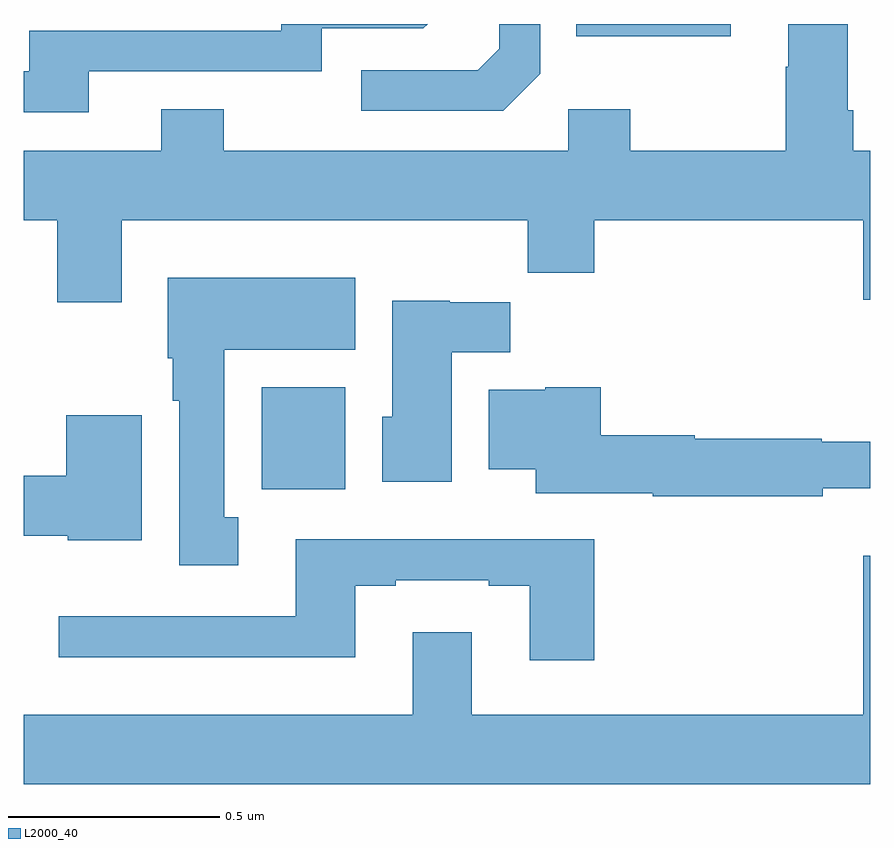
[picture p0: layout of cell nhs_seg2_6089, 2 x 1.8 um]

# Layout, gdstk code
import gdstk
lib = gdstk.Library(unit=1e-6, precision=1e-09)
def R(c, l, rs):  # rectangles x0, y0, x1, y1
    for r in rs: c.add(gdstk.rectangle(r[:2], r[2:], *l))
def P(c, l, *ps):  # polygons
    for p in ps: c.add(gdstk.Polygon(p, *l))
L2000_40 = (2000, 40)

nhs_seg2_6089 = lib.new_cell('nhs_seg2_6089')
R(nhs_seg2_6089, L2000_40, [(187.562,613.7,187.759,613.942), (188.305,614.771,188.67,614.8)])
P(nhs_seg2_6089, L2000_40, [(188.22,614.682),(188.22,614.8),(188.124,614.8),(188.124,614.742),(188.073,614.691),(187.797,614.691),(187.797,614.595),(188.133,614.595)],
  [(187.153,614.688),(187.704,614.688),(187.704,614.79),(187.944,614.79),(187.954,614.8),(187.608,614.8),(187.608,614.784),(187.013,614.784),(187.013,614.688),(187,614.688),(187,614.592),(187.153,614.592)],
  [(188.286,614.5),(187.473,614.5),(187.473,614.599),(187.325,614.599),(187.325,614.5),(187,614.5),(187,614.336),(187.079,614.336),(187.079,614.142),(187.231,614.142),(187.231,614.336),(188.191,614.336),(188.191,614.212),(188.348,614.212),(188.348,614.336),(188.984,614.336),(188.984,614.148),(189,614.148),(189,614.5),(188.96,614.5),(188.96,614.596),(188.947,614.596),(188.947,614.8),(188.807,614.8),(188.807,614.699),(188.8,614.699),(188.8,614.5),(188.433,614.5),(188.433,614.599),(188.286,614.599)],
  [(187.507,613.634),(187.474,613.634),(187.474,614.03),(187.783,614.03),(187.783,614.2),(187.34,614.2),(187.34,614.01),(187.352,614.01),(187.352,613.91),(187.367,613.91),(187.367,613.521),(187.507,613.521)],
  [(188.011,614.024),(188.15,614.024),(188.15,614.142),(188.007,614.142),(188.007,614.146),(187.871,614.146),(187.871,613.872),(187.847,613.872),(187.847,613.718),(188.011,613.718)],
  [(188.888,613.703),(189,613.703),(189,613.813),(188.886,613.813),(188.886,613.82),(188.586,613.82),(188.586,613.828),(188.363,613.828),(188.363,613.942),(188.232,613.942),(188.232,613.936),(188.099,613.936),(188.099,613.748),(188.21,613.748),(188.21,613.691),(188.486,613.691),(188.486,613.684),(188.888,613.684)],
  [(187.279,613.876),(187.1,613.876),(187.1,613.733),(187,613.733),(187,613.591),(187.104,613.591),(187.104,613.58),(187.279,613.58)],
  [(188.348,613.582),(187.643,613.582),(187.643,613.401),(187.083,613.401),(187.083,613.304),(187.783,613.304),(187.783,613.473),(187.879,613.473),(187.879,613.485),(188.099,613.485),(188.099,613.473),(188.195,613.473),(188.195,613.296),(188.348,613.296)],
  [(189,613.543),(188.984,613.543),(188.984,613.168),(188.059,613.168),(188.059,613.363),(187.919,613.363),(187.919,613.168),(187,613.168),(187,613.004),(189,613.004)])

lib.write_gds('nhs_seg2_6089.gds')
